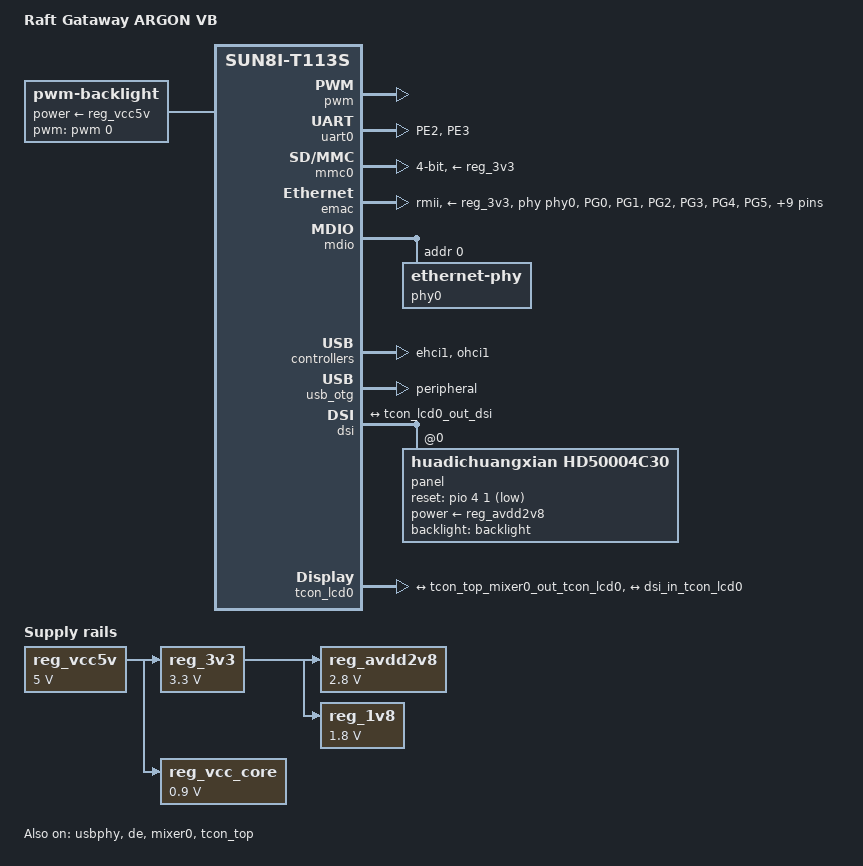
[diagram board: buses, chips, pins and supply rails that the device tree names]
// SPDX-License-Identifier: (GPL-2.0+ OR MIT)
// Copyright (C) 2022 Arm Ltd.

#include <dt-bindings/interrupt-controller/irq.h>
#include <dt-bindings/gpio/gpio.h>
#include <dt-bindings/leds/common.h>
#include <dt-bindings/pwm/pwm.h>

/dts-v1/;

#include "sun8i-t113s.dtsi"

/ {
	model = "Raft Gataway ARGON VB";
	compatible = "allwinner,sun8i-t113s";

	aliases {
		serial0 = &uart0;
	};

	chosen {
		stdout-path = "serial0:115200n8";
	};

	/* board wide 5V supply directly from DC input */
	reg_vcc5v: regulator-5v {
		compatible = "regulator-fixed";
		regulator-name = "vcc-5v";
		regulator-min-microvolt = <5000000>;
		regulator-max-microvolt = <5000000>;
		regulator-always-on;
	};

	/* AMS1117-3.3 regulator on the board */
	reg_3v3: regulator-3v3 {
		compatible = "regulator-fixed";
		regulator-name = "vcc-3v3";
		regulator-min-microvolt = <3300000>;
		regulator-max-microvolt = <3300000>;
		vin-supply = <&reg_vcc5v>;
	};

	/* EA3036C DC/DC regulator on the board, also supplying VDD-SYS */
	reg_vcc_core: regulator-core {
		compatible = "regulator-fixed";
		regulator-name = "vcc-core";
		regulator-min-microvolt = <900000>;
		regulator-max-microvolt = <900000>;
		vin-supply = <&reg_vcc5v>;
	};

	/* XC6206 LDO on the board */
	reg_avdd2v8: regulator-avdd {
		compatible = "regulator-fixed";
		regulator-name = "avdd2v8";
		regulator-min-microvolt = <2800000>;
		regulator-max-microvolt = <2800000>;
		vin-supply = <&reg_3v3>;
	};

	/* XC6206 LDO on the board */
	reg_1v8: regulator-vcc-dsi {
		compatible = "regulator-fixed";
		regulator-name = "vcc-dsi";
		regulator-min-microvolt = <1800000>;
		regulator-max-microvolt = <1800000>;
		vin-supply = <&reg_3v3>;
	};

	watchdog {
		compatible = "allwinner,sun20i-d1-wdt";
		reg = <0x020500A0 0x20>;
	};

	raft-user-gpios {
		compatible = "raft-user-gpios";
		mesh-pwr-gpios {
			pin = "PC6";
			function = "output";
			value = <1>;
		};

		wifi-pwr-gpios {
			pin = "PC7";
			function = "output";
			value = <1>;
		};

		4g-pwr-gpios {
			pin = "PC3";
			function = "output";
			value = <1>;
		};

		4g-rst-gpios {
			pin = "PC2";
			function = "reset";
			value = <1>;
			keep_ms = <100>;
		};

		tp-pwr-gpios {
			pin = "PD18";
			function = "output";
			value = <1>;
		};

                ephy-rst-gpios {
			pin = "PG9";
			function = "reset";
			value = <0>;
			keep_ms = <100>;
		};

		backlight_en_gpios {
			pin = "PD17";
			function = "output";
			value = <1>;
		};

		gps-rst-gpios {
			pin = "PB3";
			function = "reset";
			value = <0>;
			keep_ms = <10>;
		};

		gps-pps-gpios {
			pin = "PB2";
			function = "input";
		};

		nd-full-gpios {
			pin = "PD16";
			function = "input";
		};

		nd-empty-gpios {
			pin = "PD15";
			function = "input";
		};

		nd-mode-gpios {
			pin = "PD14";
			function = "input";
		};
	};

	pwm: pwm@2000c00 {
		compatible = "allwinner,sun8i-h3-pwm";
		reg = <0x02000c00 0x400>;
		clocks = <&dcxo>;
		#pwm-cells = <3>;
		status = "okay";
	};

	backlight: backlight {
		   compatible = "pwm-backlight";
		   pwms = <&pwm 0 100000 PWM_POLARITY_INVERTED>;
		   power-supply = <&reg_vcc5v>;
		   /* gpio not connect to real backligth */
		   brightness-levels = <0 30 40 50 60 70 80 90 100>;
		   default-brightness-level = <8>;
	};
};

&dcxo {
	clock-frequency = <24000000>;
};

&cpu0 {
	cpu-supply = <&reg_vcc_core>;
};

&cpu1 {
	cpu-supply = <&reg_vcc_core>;
};

&uart0 {
	pinctrl-names = "default";
	pinctrl-0 = <&uart0_pe_pins>;
	status = "okay";
};

&mmc0 {
	pinctrl-names = "default";
	pinctrl-0 = <&mmc0_pins>;
	vmmc-supply = <&reg_3v3>;
	disable-wp;
	bus-width = <4>;
	status = "okay";
};

&pio {
	vcc-pb-supply = <&reg_3v3>;
	vcc-pd-supply = <&reg_3v3>;
	vcc-pe-supply = <&reg_avdd2v8>;
	vcc-pf-supply = <&reg_3v3>;
	vcc-pg-supply = <&reg_3v3>;

	rmii_pg_pins: rmii-pg-pins {
		pins = "PG0", "PG1", "PG2", "PG3", "PG4",
		"PG5", "PG6", "PG7", "PG8", "PG10", "PG11",
		"PG12", "PG13", "PG14", "PG15";
		function = "emac";
	};

	uart0_pe_pins: uart0-pe-pins {
		pins = "PE2", "PE3";
		function = "uart0";
	};
};

&emac {
	compatible = "allwinner,sun50i-h6-emac";
	pinctrl-names = "default";
	pinctrl-0 = <&rmii_pg_pins>;
	clocks = <&ccu CLK_BUS_EMAC>, <&ccu CLK_EMAC_25M>;
	clock-names = "stmmaceth", "ext25m_clk";
	phy-mode = "rmii";
	phy-handle = <&phy0>;
	phy-supply = <&reg_3v3>;
	status = "okay";
};

&mdio {
	phy0: ethernet-phy@0 {
		reg = <0>;
		motorcomm,auto-sleep-disabled;
		motorcomm,keep-pll-enabled;
	};
};

&ehci1 {
	status = "okay";
};

&ohci1 {
	status = "okay";
};
/* The USB-C socket has its CC pins pulled to GND, so is hardwired as a UFP. */
&usb_otg {
	dr_mode = "peripheral";
	status = "okay";
};

&usbphy {
	usb1_vbus-supply = <&reg_vcc5v>;
	status = "okay";
};


&dsi {
	status = "okay";
	#address-cells = <1>;
	#size-cells = <0>;
	vcc-dsi-supply = <&reg_1v8>;

#if 1
	panel@0 {
		compatible = "huadichuangxian,hd50004c30", "ilitek,ili9881c";
		reg = <0>;
		power-supply = <&reg_avdd2v8>;
		reset-gpios = <&pio 4 1 GPIO_ACTIVE_LOW>;
		backlight = <&backlight>;
	};
#endif

#if 0
	panel@0 {
		compatible = "elitek,ek79007";
		reg = <0>;
		power-supply = <&reg_avdd2v8>;
		reset-gpios = <&pio 4 1 GPIO_ACTIVE_LOW>;
		backlight = <&backlight>;
	};
#endif

	port {
		dsi_in_tcon_lcd0: endpoint {
			remote-endpoint = <&tcon_lcd0_out_dsi>;
		};
	};
};

&de {
	allwinner,pipelines = <&mixer0>;
	status = "okay";
};

&mixer0 {
	status = "okay";
	ports {
		mixer0_out: port@1 {
			mixer0_out_tcon_top_mixer0: endpoint {
				remote-endpoint = <&tcon_top_mixer0_in_mixer0>;
			};
		};
	};
};

/delete-node/ &mixer1;

&tcon_top {
	status = "okay";
	ports {
		tcon_top_mixer0_in: port@0 {
			tcon_top_mixer0_in_mixer0: endpoint {
				remote-endpoint = <&mixer0_out_tcon_top_mixer0>;
			};
		};

		tcon_top_mixer0_out: port@1 {
			tcon_top_mixer0_out_tcon_lcd0: endpoint@0 {
				remote-endpoint = <&tcon_lcd0_in_tcon_top_mixer0>;
			};

			/delete-node/ endpoint@2;
		};
		/delete-node/ port@2;
		/delete-node/ port@3;
		/delete-node/ port@4;
		/delete-node/ port@5;
	};
};

&tcon_lcd0 {
	status = "okay";
	ports {
		tcon_lcd0_in: port@0 {
			tcon_lcd0_in_tcon_top_mixer0: endpoint@0 {
				remote-endpoint = <&tcon_top_mixer0_out_tcon_lcd0>;
			};

			/delete-node/ endpoint@1;
		};

		tcon_lcd0_out: port@1 {
			tcon_lcd0_out_dsi: endpoint@1 {
				remote-endpoint = <&dsi_in_tcon_lcd0>;
			};
		};
	};
};

/delete-node/ &tcon_tv0;
